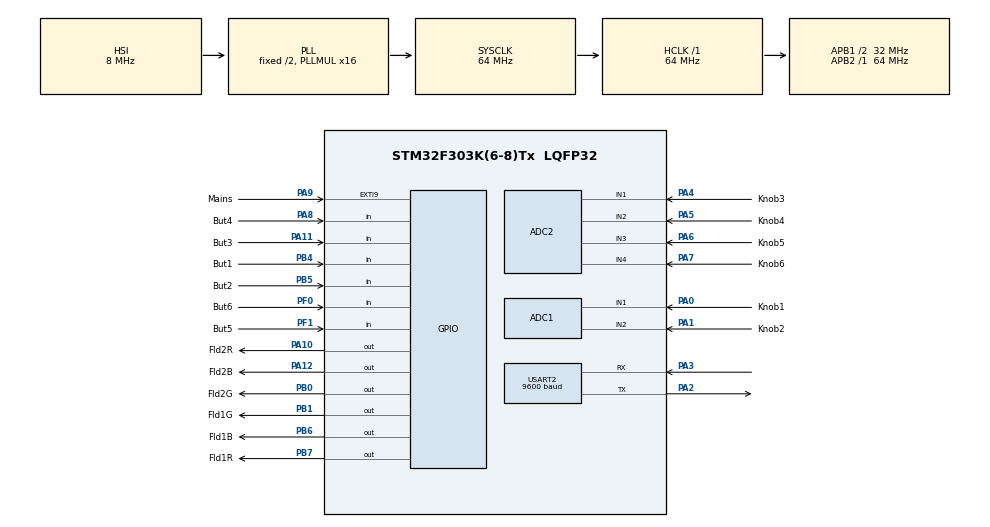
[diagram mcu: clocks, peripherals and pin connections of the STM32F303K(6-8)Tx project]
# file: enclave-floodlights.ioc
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ADC1.Channel-3\#ChannelRegularConversion=ADC_CHANNEL_1
ADC1.NbrOfConversionFlag=1
ADC1.Offset-3\#ChannelRegularConversion=0
ADC1.OffsetNumber-3\#ChannelRegularConversion=ADC_OFFSET_NONE
ADC1.Rank-3\#ChannelRegularConversion=1
ADC1.SamplingTime-3\#ChannelRegularConversion=ADC_SAMPLETIME_1CYCLE_5
ADC1.SubFamily=STM32F303x8
ADC1.master=1
ADC2.Channel-0\#ChannelRegularConversion=ADC_CHANNEL_1
ADC2.NbrOfConversionFlag=1
ADC2.Offset-0\#ChannelRegularConversion=0
ADC2.OffsetNumber-0\#ChannelRegularConversion=ADC_OFFSET_NONE
ADC2.Rank-0\#ChannelRegularConversion=1
ADC2.SamplingTime-0\#ChannelRegularConversion=ADC_SAMPLETIME_1CYCLE_5
ADC2.SubFamily=STM32F303x8
Dma.Request0=USART2_RX
Dma.Request1=USART2_TX
Dma.USART2_RX.0.Direction=DMA_PERIPH_TO_MEMORY
Dma.USART2_RX.0.Instance=DMA1_Channel6
Dma.USART2_RX.0.MemDataAlignment=DMA_MDATAALIGN_BYTE
Dma.USART2_RX.0.MemInc=DMA_MINC_ENABLE
Dma.USART2_RX.0.Mode=DMA_NORMAL
Dma.USART2_RX.0.PeriphDataAlignment=DMA_PDATAALIGN_BYTE
Dma.USART2_RX.0.PeriphInc=DMA_PINC_DISABLE
Dma.USART2_RX.0.Priority=DMA_PRIORITY_LOW
Dma.USART2_TX.1.Direction=DMA_MEMORY_TO_PERIPH
Dma.USART2_TX.1.Instance=DMA1_Channel7
Dma.USART2_TX.1.MemDataAlignment=DMA_MDATAALIGN_BYTE
Dma.USART2_TX.1.MemInc=DMA_MINC_ENABLE
Dma.USART2_TX.1.Mode=DMA_NORMAL
Dma.USART2_TX.1.PeriphDataAlignment=DMA_PDATAALIGN_BYTE
Dma.USART2_TX.1.PeriphInc=DMA_PINC_DISABLE
Dma.USART2_TX.1.Priority=DMA_PRIORITY_LOW
Mcu.Family=STM32F3
Mcu.Name=STM32F303K(6-8)Tx
Mcu.Package=LQFP32
NVIC.DMA1_Channel6_IRQn=true\:0\:0\:false\:false\:true\:false\:true\:true
NVIC.DMA1_Channel7_IRQn=true\:0\:0\:false\:false\:true\:false\:true\:true
NVIC.EXTI9_5_IRQn=true\:0\:0\:false\:false\:true\:true\:true\:true
NVIC.PriorityGroup=NVIC_PRIORITYGROUP_4
NVIC.RCC_IRQn=true\:0\:0\:false\:false\:true\:true\:false\:true
NVIC.TIM2_IRQn=true\:0\:0\:false\:false\:true\:true\:true\:true
NVIC.TIM3_IRQn=true\:0\:0\:false\:false\:true\:true\:true\:true
NVIC.TIM6_DAC1_IRQn=true\:0\:0\:false\:false\:true\:true\:true\:true
NVIC.USART2_IRQn=true\:0\:0\:false\:false\:true\:true\:true\:true
PA0.GPIO_Label=Knob1
PA0.GPIO_Mode=GPIO_MODE_ANALOG
PA0.Mode=IN1-Single-Ended
PA0.Signal=ADC1_IN1
PA1.GPIO_Label=Knob2
PA1.Mode=IN2-Single-Ended
PA1.Signal=ADC1_IN2
PA10.GPIO_Label=Fld2R
PA10.Signal=GPIO_Output
PA11.GPIO_Label=But3
PA11.Signal=GPIO_Input
PA12.GPIO_Label=Fld2B
PA12.Signal=GPIO_Output
PA2.Mode=Asynchronous
PA2.Signal=USART2_TX
PA3.Mode=Asynchronous
PA3.Signal=USART2_RX
PA4.GPIO_Label=Knob3
PA4.Mode=IN1-Single-Ended
PA4.Signal=ADC2_IN1
PA5.GPIO_Label=Knob4
PA5.Mode=IN2-Single-Ended
PA5.Signal=ADC2_IN2
PA6.GPIO_Label=Knob5
PA6.Mode=IN3-Single-Ended
PA6.Signal=ADC2_IN3
PA7.GPIO_Label=Knob6
PA7.Mode=IN4-Single-Ended
PA7.Signal=ADC2_IN4
PA8.GPIO_Label=But4
PA8.Signal=GPIO_Input
PA9.GPIO_Label=Mains
PA9.Signal=GPXTI9
PB0.GPIO_Label=Fld2G
PB0.Signal=GPIO_Output
PB1.GPIO_Label=Fld1G
PB1.GPIO_Speed=GPIO_SPEED_FREQ_HIGH
PB1.Signal=GPIO_Output
PB4.GPIO_Label=But1
PB4.Signal=GPIO_Input
PB5.GPIO_Label=But2
PB5.Signal=GPIO_Input
PB6.GPIO_Label=Fld1B
PB6.GPIO_Speed=GPIO_SPEED_FREQ_HIGH
PB6.Signal=GPIO_Output
PB7.GPIO_Label=Fld1R
PB7.GPIO_Speed=GPIO_SPEED_FREQ_HIGH
PB7.Signal=GPIO_Output
PF0\ /\ OSC_IN.GPIO_Label=But6
PF0\ /\ OSC_IN.Signal=GPIO_Input
PF1\ /\ OSC_OUT.GPIO_Label=But5
PF1\ /\ OSC_OUT.Signal=GPIO_Input
ProjectManager.HeapSize=0x200
ProjectManager.StackSize=0x400
ProjectManager.TargetToolchain=STM32CubeIDE
RCC.AHBFreq_Value=64000000
RCC.APB1CLKDivider=RCC_HCLK_DIV2
RCC.APB1Freq_Value=32000000
RCC.APB1TimFreq_Value=64000000
RCC.APB2Freq_Value=64000000
RCC.APB2TimFreq_Value=64000000
RCC.CortexFreq_Value=64000000
RCC.HCLKFreq_Value=64000000
RCC.HSE_VALUE=8000000
RCC.HSI_VALUE=8000000
RCC.PLLMUL=RCC_PLL_MUL16
RCC.SYSCLKFreq_VALUE=64000000
RCC.SYSCLKSourceVirtual=RCC_SYSCLKSOURCE_PLLCLK
TIM2.AutoReloadPreload=TIM_AUTORELOAD_PRELOAD_ENABLE
TIM2.Period=7
TIM2.Prescaler=253
TIM3.AutoReloadPreload=TIM_AUTORELOAD_PRELOAD_ENABLE
TIM3.Period=9999
TIM3.Prescaler=1599
TIM6.AutoReloadPreload=TIM_AUTORELOAD_PRELOAD_ENABLE
TIM6.Period=99
TIM6.Prescaler=799
USART2.BaudRate=9600
USART2.VirtualMode-Asynchronous=VM_ASYNC
VP_TIM2_VS_ClockSourceINT.Mode=Internal
VP_TIM3_VS_ClockSourceINT.Mode=Internal
VP_TIM6_VS_ClockSourceINT.Mode=Enable_Timer
board=custom

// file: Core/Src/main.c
/* USER CODE BEGIN Header */
/**
 ******************************************************************************
 * @file           : main.c
 * @brief          : Main program body
 ******************************************************************************
 * @attention
 *
 * Copyright (c) 2023 STMicroelectronics.
 * All rights reserved.
 *
 * This software is licensed under terms that can be found in the LICENSE file
 * in the root directory of this software component.
 * If no LICENSE file comes with this software, it is provided AS-IS.
 *
 ******************************************************************************
 */
/* USER CODE END Header */
#include "main.h"

/* USER CODE BEGIN Includes */
#include "math.h"
#include <stdlib.h>
/* USER CODE END Includes */

ADC_HandleTypeDef hadc1;
ADC_HandleTypeDef hadc2;

TIM_HandleTypeDef htim2;
TIM_HandleTypeDef htim3;
TIM_HandleTypeDef htim6;

UART_HandleTypeDef huart2;
DMA_HandleTypeDef hdma_usart2_rx;
DMA_HandleTypeDef hdma_usart2_tx;

/* USER CODE BEGIN PV */
typedef enum {
	//NOTE: repeat since latter half knobs are on adc2
	KNOB1Chn = ADC_CHANNEL_1, KNOB2Chn = ADC_CHANNEL_2, KNOB3Chn = ADC_CHANNEL_17,
	KNOB4Chn = ADC_CHANNEL_13,	KNOB5Chn = ADC_CHANNEL_3, KNOB6Chn = ADC_CHANNEL_4
} KnobChannel;
//test
struct FloodlightLED {
	GPIO_TypeDef * GPIO;
	uint32_t LEDColourChannelPin;
	_Bool pinOn;
	unsigned short dim;
	unsigned short rise1;
	unsigned short fall1;
	unsigned short rise2;
	unsigned short fall2;
};

struct Knob {
	ADC_HandleTypeDef * adc;
	KnobChannel channel;
	uint16_t value;
};

struct Button {
	GPIO_TypeDef * GPIO;
	uint32_t pin;
	GPIO_PinState pinState;
	_Bool buttonState;
	uint8_t debounceCounter;
};

//2^32 - 100000
#define DWT_CYCLE_RESET 4294867296

#define NUMLIGHTS 2
#define COLOURCHANNELSPERLIGHT 3
struct FloodlightLED floodlights[NUMLIGHTS][COLOURCHANNELSPERLIGHT];

#define NUMKNOBS 6
//Div by 5 since 5ms polling
#define DEBOUNCECYCLES 20
struct Knob knobs[NUMKNOBS];

#define NUMBUTTONS 6
struct Button buttons[NUMBUTTONS];

_Bool initialized = 0;

unsigned long width = 0;
unsigned long avgWidth = 0;
_Bool set = 0;
unsigned long start = 0;
unsigned short place = 0;

unsigned short curMains = 0;
uint8_t incrDuty = 0;
int curShift = 0;
uint32_t curStartTilNow = 0;

volatile uint32_t *DWT_CONTROL = (uint32_t*) 0xE0001000;
volatile uint32_t *DWT_CYCCNT = (uint32_t*) 0xE0001004;
volatile uint32_t *DEMCR = (uint32_t*) 0xE000EDFC;
volatile uint32_t *LAR = (uint32_t*) 0xE0001FB0; // <-- added lock access register

const uint32_t startReset = (uint32_t) (pow(2, sizeof(uint32_t) * 8));
const uint32_t startTilNowReset = (uint32_t) (pow(2, sizeof(uint32_t) * 8) / 64);
/* USER CODE END PV */

void SystemClock_Config(void);
static void MX_GPIO_Init(void);
static void MX_DMA_Init(void);
static void MX_TIM2_Init(void);
static void MX_ADC1_Init(void);
static void MX_ADC2_Init(void);
static void MX_TIM3_Init(void);
static void MX_USART2_UART_Init(void);
static void MX_TIM6_Init(void);
/* USER CODE BEGIN PFP */
_Bool initializeFloodlightStructs(void);
_Bool initializeKnobStructs(void);
_Bool initializeButtonStructs(void);
uint16_t readADCChannel(KnobChannel channel, ADC_HandleTypeDef * adc);
void pollKnobs(void);
void debounceButtons(void);
void resetRiseFall(uint8_t floodlightNum, uint8_t LEDNum, _Bool *dimCorrect);
void mainsDetect(void);
void pulseFloodlight(void);
void HAL_GPIO_EXTI_Callback(uint16_t GPIO_Pin);
void HAL_TIM_PeriodElapsedCallback(TIM_HandleTypeDef *htim);
/* USER CODE END PFP */

/* USER CODE BEGIN 0 */
//Set to (253+1)*(7+1) so same rate as timer2
#define timer2cycle() (*DWT_CYCCNT/2032)
#define starttilnow() (timer2cycle() - start)

#define ADC_WIDTH 4092
#define HALF_ADC_WIDTH 2048

#define MAX_LED_DIM 255
#define NUM_LED_LEVELS 256 //255+1

#define LED_ON_STATE(floodlightNum, LEDNum) if(!floodlights[floodlightNum][LEDNum].pinOn) {\
		HAL_GPIO_WritePin(floodlights[floodlightNum][LEDNum].GPIO, \
				floodlights[floodlightNum][LEDNum].LEDColourChannelPin, GPIO_PIN_SET);\
		floodlights[floodlightNum][LEDNum].pinOn = 1;}
#define LED_OFF_STATE(floodlightNum, LEDNum) if(floodlights[floodlightNum][LEDNum].pinOn) {\
		HAL_GPIO_WritePin(floodlights[floodlightNum][LEDNum].GPIO, \
				floodlights[floodlightNum][LEDNum].LEDColourChannelPin, GPIO_PIN_RESET);\
		floodlights[floodlightNum][LEDNum].pinOn = 0;}

_Bool initializeFloodlightStructs() {
	short floodlightNum, LEDNum;
	for (floodlightNum = 0; floodlightNum < NUMLIGHTS;
			floodlightNum++) {
		for (LEDNum = 0; LEDNum < COLOURCHANNELSPERLIGHT; LEDNum++) {
			//NOTE: assuming no more than 10 LED per floodlight
			switch (10*floodlightNum + LEDNum) {
			case 0:
				floodlights[floodlightNum][LEDNum].GPIO = GPIOB;
				floodlights[floodlightNum][LEDNum].LEDColourChannelPin = Fld1R_Pin;
				break;
			case 1:
				floodlights[floodlightNum][LEDNum].GPIO = GPIOB;
				floodlights[floodlightNum][LEDNum].LEDColourChannelPin = Fld1G_Pin;
				break;
			case 2:
				floodlights[floodlightNum][LEDNum].GPIO = GPIOB;
				floodlights[floodlightNum][LEDNum].LEDColourChannelPin = Fld1B_Pin;
				break;
			case 10:
				floodlights[floodlightNum][LEDNum].GPIO = GPIOA;
				floodlights[floodlightNum][LEDNum].LEDColourChannelPin = Fld2R_Pin;
				break;
			case 11:
				floodlights[floodlightNum][LEDNum].GPIO = Fld2G_GPIO_Port;
				floodlights[floodlightNum][LEDNum].LEDColourChannelPin = Fld2G_Pin;
				break;
			case 12:
				floodlights[floodlightNum][LEDNum].GPIO = GPIOA;
				floodlights[floodlightNum][LEDNum].LEDColourChannelPin = Fld2B_Pin;
				break;
			default:
				//Configure shit!
				return 1;
			}
			floodlights[floodlightNum][LEDNum].pinOn = 0;
			floodlights[floodlightNum][LEDNum].dim = 0;
			floodlights[floodlightNum][LEDNum].rise1 = 0;
			floodlights[floodlightNum][LEDNum].fall1 = 0;
			floodlights[floodlightNum][LEDNum].rise2 = 0;
			floodlights[floodlightNum][LEDNum].fall2 = 0;

		}
	}
	return 0;
}

_Bool initializeKnobStructs() {
	uint8_t knob;
	for(knob = 0; knob < NUMKNOBS; knob++) {
		switch(knob) {
		case 0:
			knobs[knob].channel = KNOB1Chn;
			knobs[knob].adc =&hadc1;
			break;
		case 1:
			knobs[knob].channel = KNOB2Chn;
			knobs[knob].adc = &hadc1;
			break;
		case 2:
			knobs[knob].channel = KNOB3Chn;
			knobs[knob].adc = &hadc2;
			break;
		case 3:
			knobs[knob].channel = KNOB4Chn;
			knobs[knob].adc = &hadc2;
			break;
		case 4:
			knobs[knob].channel = KNOB5Chn;
			knobs[knob].adc = &hadc2;
			break;
		case 5:
			knobs[knob].channel = KNOB6Chn;
			knobs[knob].adc = &hadc2;
			break;
		default:
			//Configure shit!
			return 1;
		}

		knobs[knob].value = 0;
	}
	return 0;
}

_Bool initializeButtonStructs() {
	uint8_t button;
	for(button = 0; button < NUMBUTTONS; button++) {
		switch(button) {
		case 0:
			buttons[button].GPIO = GPIOA;
			buttons[button].pin = But1_Pin;
			break;
		case 1:
			buttons[button].GPIO = GPIOA;
			buttons[button].pin = But2_Pin;
			break;
		case 2:
			buttons[button].GPIO = GPIOA;
			buttons[button].pin = But3_Pin;
			break;
		case 3:
			buttons[button].GPIO = GPIOB;
			buttons[button].pin = But4_Pin;
			break;
		case 4:
			buttons[button].GPIO = GPIOB;
			buttons[button].pin = But5_Pin;
			break;
		case 5:
			buttons[button].GPIO = GPIOA;
			buttons[button].pin = But6_Pin;
			break;
		default:
			//Configure shit!
			return 1;
		}

		buttons[button].pinState = GPIO_PIN_RESET;
		buttons[button].buttonState = 0;
		buttons[button].debounceCounter = 0;
	}
	return 0;
}

uint16_t readADCChannel(KnobChannel channel, ADC_HandleTypeDef * adc) {
	ADC_ChannelConfTypeDef sConfig = { 0 };

	/** Configure Regular Channel
	 */
	sConfig.Channel = channel;
	sConfig.Rank = ADC_REGULAR_RANK_1;
	sConfig.SingleDiff = ADC_SINGLE_ENDED;
	sConfig.SamplingTime = ADC_SAMPLETIME_2CYCLES_5;
	sConfig.OffsetNumber = ADC_OFFSET_NONE;
	sConfig.Offset = 0;
	if (HAL_ADC_ConfigChannel(&hadc1, &sConfig) != HAL_OK) {
		Error_Handler();
	}

	HAL_ADC_Start(adc);
	HAL_ADC_PollForConversion(adc, 1);
	return HAL_ADC_GetValue(adc);
}

void pollKnobs() {
	static uint8_t knob;
	for(knob = 0; knob < NUMKNOBS; knob++) {
		//Smooth to filter out noise
		knobs[knob].value = (9*knobs[knob].value +
				readADCChannel(knobs[knob].channel, knobs[knob].adc)) / 10;
	}
}

void debounceButtons() {
	static uint8_t button;
	//TODO: get rid of this
	static int temp = 0;

	for (button = 0; button < NUMBUTTONS; button++) {
		if (HAL_GPIO_ReadPin(buttons[button].GPIO, buttons[button].pin)
				== GPIO_PIN_SET) {
			if (buttons[button].buttonState == 0) {
				buttons[button].debounceCounter++;
				if (buttons[button].debounceCounter >= DEBOUNCECYCLES) {
					//Legit button press!
					temp = 1;
					buttons[button].debounceCounter = 0;
					buttons[button].buttonState = 1;
				}
			}
		} else if (buttons[button].debounceCounter != 0) {
			buttons[button].debounceCounter = 0;
		} else if (buttons[button].buttonState != 0) {
			buttons[button].buttonState = 0;
		}
	}
	if (temp == 1) {
				temp = 0;
	}
}

void resetRiseFall(uint8_t floodlightNum, uint8_t LEDNum, _Bool *dimCorrect) {
	//Divide by 2 since we cycle duty per half-wave, not full wave
		static unsigned short effDuty;
	effDuty = (short) ((((unsigned long) width
			* (unsigned long) floodlights[floodlightNum][LEDNum].dim)) / (2 * NUM_LED_LEVELS));
	//If dim is odd, this granularity will be lost in compression since only 128 pulse width levels available
	//i.e. (512*255)/(2*256) == 255 == (512*254)/(2*256)
	//Circumvent this by offsetting all odd values by 1 on fall to increase pulse width by 1/2 a level
	//NOTE passing in as pointer since resetRiseFall can be triggered asynchronously via seperate interrupts
	*dimCorrect = floodlights[floodlightNum][LEDNum].dim & 1;
	//TODO: calculate & set timer freq so exactly 512*mains freq (change if using ext osc)
	floodlights[floodlightNum][LEDNum].rise1 = ((width / 2) - effDuty) / 2;
	floodlights[floodlightNum][LEDNum].fall1 = floodlights[floodlightNum][LEDNum].rise1 + effDuty + *dimCorrect;
	floodlights[floodlightNum][LEDNum].rise2 = (width / 2) + floodlights[floodlightNum][LEDNum].rise1;
	floodlights[floodlightNum][LEDNum].fall2 = (width / 2) + floodlights[floodlightNum][LEDNum].fall1;
}
void resetAllRiseFall(_Bool *dimCorrect) {
	static short floodlightNum, LEDNum;
		for (floodlightNum = 0; floodlightNum < NUMLIGHTS;
				floodlightNum++) {
			for (LEDNum = 0; LEDNum < COLOURCHANNELSPERLIGHT; LEDNum++) {
				resetRiseFall(floodlightNum, LEDNum, dimCorrect);
			}
		}
}

void mainsDetect() {
	//Why does width occasionally jump to ~20k micros for a bit??  Then returns back to ~61Hz
	//Filtered out by blip discard method.  May be artifact of low frequency operation
	if (set) {
		curStartTilNow = starttilnow();
		//Slowly track to actual width if permanent shift
		avgWidth = ((19 * (unsigned long) width + (curStartTilNow)) / 20);
		//Try to filter out blips, is this an actual frequency shift on mains?
		//If average closer to calculated than historical, this is the new frequency
		//Explicit cast to (long) since stdlib has no overload of abs for unsigned long
      if (width == 0 || abs((unsigned long)((curStartTilNow) - width)) < width/16
       || abs((unsigned long)((curStartTilNow) - avgWidth)) < abs((unsigned long)(width - avgWidth))) {
        width = curStartTilNow;
		//Reset avg
		//avgWidth = width;
		//reset applicable variables
        static _Bool dimCorrect;
		resetAllRiseFall(&dimCorrect);
      }

	} else {
		set = 1;
	}
	if (*DWT_CYCCNT > DWT_CYCLE_RESET)  *DWT_CYCCNT = 0;                  // clear DWT cycle counter
	start = timer2cycle();

	//--------------------------------------------------------------------------------------------------------
	//ONLY FOR TESTING
	static _Bool flip1, flip2;
	static uint16_t reset = 0;
		reset++;
		if (reset >= 1) {
			if (floodlights[0][0].dim > MAX_LED_DIM) floodlights[0][0].dim=0;
			if (floodlights[0][1].dim > MAX_LED_DIM) floodlights[0][1].dim=0;
			if(!flip1) {
			floodlights[0][0].dim = (floodlights[0][0].dim + 1);
			if (floodlights[0][0].dim >= MAX_LED_DIM-1) {
				flip1 = 1;
				floodlights[0][0].dim = MAX_LED_DIM-1;
			}
			} else {
				floodlights[0][0].dim = (floodlights[0][0].dim - 1);
				if (floodlights[0][0].dim <= 0 || floodlights[0][0].dim > MAX_LED_DIM) {
					flip1 = 0;
					floodlights[0][0].dim = 0;
				}
			}
			if(!flip2) {
			floodlights[0][1].dim = (floodlights[0][1].dim - 1);
			if (floodlights[0][1].dim == MAX_LED_DIM-1) flip2 = 1;
			if (floodlights[0][1].dim <= 0 || floodlights[0][1].dim > MAX_LED_DIM ) {
				flip2 = 1;
				floodlights[0][1].dim = 0;
			}
			} else {
				floodlights[0][1].dim = (floodlights[0][1].dim + 1);
				if (floodlights[0][0].dim >= MAX_LED_DIM-1) {
					flip2 = 1;
					floodlights[0][1].dim = MAX_LED_DIM-1;
				}
			}
					floodlights[0][2].dim = abs(floodlights[0][0].dim - floodlights[0][1].dim) % MAX_LED_DIM;
			        static _Bool dimCorrect;
					resetRiseFall(0, 0, &dimCorrect);
					resetRiseFall(0, 1, &dimCorrect);
					resetRiseFall(0, 2, &dimCorrect);
					reset = 0;
					floodlights[1][0].dim = 255 - floodlights[0][0].dim;
					floodlights[1][1].dim = 255 - floodlights[0][1].dim;
					floodlights[1][2].dim = 255 - floodlights[0][2].dim;
		}
		//--------------------------------------------------------------------------------------------------------
}

#pragma GCC push_options
#pragma GCC optimize ("-O3")
void pulseFloodlight() {
	//Triggers every 32 us
	place = starttilnow();
	static short floodlightNum, LEDNum;
	for (floodlightNum = 0; floodlightNum < NUMLIGHTS;
			floodlightNum++) {
		for (LEDNum = 0; LEDNum < COLOURCHANNELSPERLIGHT; LEDNum++) {
			//NOTE: we know as each success LT is evaluated, don't need to re-eval subsequent GTE
			if (place < floodlights[floodlightNum][LEDNum].rise1) {
				LED_OFF_STATE(floodlightNum, LEDNum)
			} else if (place < floodlights[floodlightNum][LEDNum].fall1) {
				LED_ON_STATE(floodlightNum, LEDNum)
			} else if (place < floodlights[floodlightNum][LEDNum].rise2) {
				LED_OFF_STATE(floodlightNum, LEDNum)
			} else if (place < floodlights[floodlightNum][LEDNum].fall2) {
				LED_ON_STATE(floodlightNum, LEDNum)
			} else {
				LED_OFF_STATE(floodlightNum, LEDNum)
			}
		}
	}
}
#pragma GCC pop_options
// EXTI Mains External Interrupt ISR Handler
void HAL_GPIO_EXTI_Callback(uint16_t GPIO_Pin) {
	if(initialized) {
	if (GPIO_Pin == Mains_Pin) {
		mainsDetect();
	}
	}
}
void HAL_TIM_PeriodElapsedCallback(TIM_HandleTypeDef *htim) {
	if(initialized) {
	if (htim->Instance == TIM2) {
		pulseFloodlight();
	}
	else if (htim->Instance == TIM3) {
		//Every 1/4 of a second
		pollKnobs();
	}
	else if (htim->Instance == TIM6) {
		//Every 2ms
		debounceButtons();
	}
	}
}
/* USER CODE END 0 */

int main(void)
{

  /* MCU Configuration--------------------------------------------------------*/

  /* Reset of all peripherals, Initializes the Flash interface and the Systick. */
  HAL_Init();

  /* Configure the system clock */
  SystemClock_Config();

  /* Initialize all configured peripherals */
  MX_GPIO_Init();
  MX_DMA_Init();
  MX_TIM2_Init();
  MX_ADC1_Init();
  MX_ADC2_Init();
  MX_TIM3_Init();
  MX_USART2_UART_Init();
  MX_TIM6_Init();
  /* USER CODE BEGIN 2 */
	//Start interrupts & ADC
	HAL_ADCEx_Calibration_Start(&hadc1, ADC_SINGLE_ENDED);
	HAL_ADCEx_Calibration_Start(&hadc2, ADC_SINGLE_ENDED);
	HAL_TIM_Base_Start_IT(&htim2);
	HAL_TIM_Base_Start_IT(&htim3);
	HAL_TIM_Base_Start_IT(&htim6);

	*DEMCR = *DEMCR | 0x01000000;     // enable trace
	*LAR = 0xC5ACCE55;    // <-- added unlock access to DWT (ITM, etc.)registers
	*DWT_CYCCNT = 0;                  // clear DWT cycle counter
	*DWT_CONTROL = *DWT_CONTROL | 1;  // enable DWT cycle counter

	//If fails config, exit program
	if (initializeFloodlightStructs())
		return 0;

	//If fails config, exit program
	if (initializeKnobStructs())
		return 0;

	//If fails config, exit program
	if (initializeButtonStructs())
		return 0;

	initialized = 1;
  /* USER CODE END 2 */

  /* Infinite loop */
	while (1) {

    /* USER CODE BEGIN 3 */

		//  mainsDetect();
//	  pulseFloodlight();
	}
  /* USER CODE END 3 */
}

void SystemClock_Config(void)
{
  RCC_OscInitTypeDef RCC_OscInitStruct = {0};
  RCC_ClkInitTypeDef RCC_ClkInitStruct = {0};
  RCC_PeriphCLKInitTypeDef PeriphClkInit = {0};

  /** Initializes the RCC Oscillators according to the specified parameters
  * in the RCC_OscInitTypeDef structure.
  */
  RCC_OscInitStruct.OscillatorType = RCC_OSCILLATORTYPE_HSI;
  RCC_OscInitStruct.HSIState = RCC_HSI_ON;
  RCC_OscInitStruct.HSICalibrationValue = RCC_HSICALIBRATION_DEFAULT;
  RCC_OscInitStruct.PLL.PLLState = RCC_PLL_ON;
  RCC_OscInitStruct.PLL.PLLSource = RCC_PLLSOURCE_HSI;
  RCC_OscInitStruct.PLL.PLLMUL = RCC_PLL_MUL16;
  if (HAL_RCC_OscConfig(&RCC_OscInitStruct) != HAL_OK)
  {
    Error_Handler();
  }

  /** Initializes the CPU, AHB and APB buses clocks
  */
  RCC_ClkInitStruct.ClockType = RCC_CLOCKTYPE_HCLK|RCC_CLOCKTYPE_SYSCLK
                              |RCC_CLOCKTYPE_PCLK1|RCC_CLOCKTYPE_PCLK2;
  RCC_ClkInitStruct.SYSCLKSource = RCC_SYSCLKSOURCE_PLLCLK;
  RCC_ClkInitStruct.AHBCLKDivider = RCC_SYSCLK_DIV1;
  RCC_ClkInitStruct.APB1CLKDivider = RCC_HCLK_DIV2;
  RCC_ClkInitStruct.APB2CLKDivider = RCC_HCLK_DIV1;

  if (HAL_RCC_ClockConfig(&RCC_ClkInitStruct, FLASH_LATENCY_2) != HAL_OK)
  {
    Error_Handler();
  }
  PeriphClkInit.PeriphClockSelection = RCC_PERIPHCLK_ADC12;
  PeriphClkInit.Adc12ClockSelection = RCC_ADC12PLLCLK_DIV1;
  if (HAL_RCCEx_PeriphCLKConfig(&PeriphClkInit) != HAL_OK)
  {
    Error_Handler();
  }
}

static void MX_ADC1_Init(void)
{

  ADC_MultiModeTypeDef multimode = {0};
  ADC_ChannelConfTypeDef sConfig = {0};

  /** Common config
  */
  hadc1.Instance = ADC1;
  hadc1.Init.ClockPrescaler = ADC_CLOCK_ASYNC_DIV1;
  hadc1.Init.Resolution = ADC_RESOLUTION_12B;
  hadc1.Init.ScanConvMode = ADC_SCAN_DISABLE;
  hadc1.Init.ContinuousConvMode = DISABLE;
  hadc1.Init.DiscontinuousConvMode = DISABLE;
  hadc1.Init.ExternalTrigConvEdge = ADC_EXTERNALTRIGCONVEDGE_NONE;
  hadc1.Init.ExternalTrigConv = ADC_SOFTWARE_START;
  hadc1.Init.DataAlign = ADC_DATAALIGN_RIGHT;
  hadc1.Init.NbrOfConversion = 1;
  hadc1.Init.DMAContinuousRequests = DISABLE;
  hadc1.Init.EOCSelection = ADC_EOC_SINGLE_CONV;
  hadc1.Init.LowPowerAutoWait = DISABLE;
  hadc1.Init.Overrun = ADC_OVR_DATA_OVERWRITTEN;
  if (HAL_ADC_Init(&hadc1) != HAL_OK)
  {
    Error_Handler();
  }

  /** Configure the ADC multi-mode
  */
  multimode.Mode = ADC_MODE_INDEPENDENT;
  if (HAL_ADCEx_MultiModeConfigChannel(&hadc1, &multimode) != HAL_OK)
  {
    Error_Handler();
  }

  /** Configure Regular Channel
  */
  sConfig.Channel = ADC_CHANNEL_1;
  sConfig.Rank = ADC_REGULAR_RANK_1;
  sConfig.SingleDiff = ADC_SINGLE_ENDED;
  sConfig.SamplingTime = ADC_SAMPLETIME_1CYCLE_5;
  sConfig.OffsetNumber = ADC_OFFSET_NONE;
  sConfig.Offset = 0;
  if (HAL_ADC_ConfigChannel(&hadc1, &sConfig) != HAL_OK)
  {
    Error_Handler();
  }

}

static void MX_ADC2_Init(void)
{

  ADC_ChannelConfTypeDef sConfig = {0};

  /** Common config
  */
  hadc2.Instance = ADC2;
  hadc2.Init.ClockPrescaler = ADC_CLOCK_ASYNC_DIV1;
  hadc2.Init.Resolution = ADC_RESOLUTION_12B;
  hadc2.Init.ScanConvMode = ADC_SCAN_DISABLE;
  hadc2.Init.ContinuousConvMode = DISABLE;
  hadc2.Init.DiscontinuousConvMode = DISABLE;
  hadc2.Init.ExternalTrigConvEdge = ADC_EXTERNALTRIGCONVEDGE_NONE;
  hadc2.Init.ExternalTrigConv = ADC_SOFTWARE_START;
  hadc2.Init.DataAlign = ADC_DATAALIGN_RIGHT;
  hadc2.Init.NbrOfConversion = 1;
  hadc2.Init.DMAContinuousRequests = DISABLE;
  hadc2.Init.EOCSelection = ADC_EOC_SINGLE_CONV;
  hadc2.Init.LowPowerAutoWait = DISABLE;
  hadc2.Init.Overrun = ADC_OVR_DATA_OVERWRITTEN;
  if (HAL_ADC_Init(&hadc2) != HAL_OK)
  {
    Error_Handler();
  }

  /** Configure Regular Channel
  */
  sConfig.Channel = ADC_CHANNEL_1;
  sConfig.Rank = ADC_REGULAR_RANK_1;
  sConfig.SingleDiff = ADC_SINGLE_ENDED;
  sConfig.SamplingTime = ADC_SAMPLETIME_1CYCLE_5;
  sConfig.OffsetNumber = ADC_OFFSET_NONE;
  sConfig.Offset = 0;
  if (HAL_ADC_ConfigChannel(&hadc2, &sConfig) != HAL_OK)
  {
    Error_Handler();
  }

}

static void MX_TIM2_Init(void)
{

  TIM_ClockConfigTypeDef sClockSourceConfig = {0};
  TIM_MasterConfigTypeDef sMasterConfig = {0};

  htim2.Instance = TIM2;
  htim2.Init.Prescaler = 253;
  htim2.Init.CounterMode = TIM_COUNTERMODE_UP;
  htim2.Init.Period = 7;
  htim2.Init.ClockDivision = TIM_CLOCKDIVISION_DIV1;
  htim2.Init.AutoReloadPreload = TIM_AUTORELOAD_PRELOAD_ENABLE;
  if (HAL_TIM_Base_Init(&htim2) != HAL_OK)
  {
    Error_Handler();
  }
  sClockSourceConfig.ClockSource = TIM_CLOCKSOURCE_INTERNAL;
  if (HAL_TIM_ConfigClockSource(&htim2, &sClockSourceConfig) != HAL_OK)
  {
    Error_Handler();
  }
  sMasterConfig.MasterOutputTrigger = TIM_TRGO_RESET;
  sMasterConfig.MasterSlaveMode = TIM_MASTERSLAVEMODE_DISABLE;
  if (HAL_TIMEx_MasterConfigSynchronization(&htim2, &sMasterConfig) != HAL_OK)
  {
    Error_Handler();
  }

}

static void MX_TIM3_Init(void)
{

  TIM_ClockConfigTypeDef sClockSourceConfig = {0};
  TIM_MasterConfigTypeDef sMasterConfig = {0};

  htim3.Instance = TIM3;
  htim3.Init.Prescaler = 1599;
  htim3.Init.CounterMode = TIM_COUNTERMODE_UP;
  htim3.Init.Period = 9999;
  htim3.Init.ClockDivision = TIM_CLOCKDIVISION_DIV1;
  htim3.Init.AutoReloadPreload = TIM_AUTORELOAD_PRELOAD_ENABLE;
  if (HAL_TIM_Base_Init(&htim3) != HAL_OK)
  {
    Error_Handler();
  }
  sClockSourceConfig.ClockSource = TIM_CLOCKSOURCE_INTERNAL;
  if (HAL_TIM_ConfigClockSource(&htim3, &sClockSourceConfig) != HAL_OK)
  {
    Error_Handler();
  }
  sMasterConfig.MasterOutputTrigger = TIM_TRGO_RESET;
  sMasterConfig.MasterSlaveMode = TIM_MASTERSLAVEMODE_DISABLE;
  if (HAL_TIMEx_MasterConfigSynchronization(&htim3, &sMasterConfig) != HAL_OK)
  {
    Error_Handler();
  }

}

static void MX_TIM6_Init(void)
{

  TIM_MasterConfigTypeDef sMasterConfig = {0};

  htim6.Instance = TIM6;
  htim6.Init.Prescaler = 799;
  htim6.Init.CounterMode = TIM_COUNTERMODE_UP;
  htim6.Init.Period = 99;
  htim6.Init.AutoReloadPreload = TIM_AUTORELOAD_PRELOAD_ENABLE;
  if (HAL_TIM_Base_Init(&htim6) != HAL_OK)
  {
    Error_Handler();
  }
  sMasterConfig.MasterOutputTrigger = TIM_TRGO_RESET;
  sMasterConfig.MasterSlaveMode = TIM_MASTERSLAVEMODE_DISABLE;
  if (HAL_TIMEx_MasterConfigSynchronization(&htim6, &sMasterConfig) != HAL_OK)
  {
    Error_Handler();
  }

}

static void MX_USART2_UART_Init(void)
{

  huart2.Instance = USART2;
  huart2.Init.BaudRate = 9600;
  huart2.Init.WordLength = UART_WORDLENGTH_8B;
  huart2.Init.StopBits = UART_STOPBITS_1;
  huart2.Init.Parity = UART_PARITY_NONE;
  huart2.Init.Mode = UART_MODE_TX_RX;
  huart2.Init.HwFlowCtl = UART_HWCONTROL_NONE;
  huart2.Init.OverSampling = UART_OVERSAMPLING_16;
  huart2.Init.OneBitSampling = UART_ONE_BIT_SAMPLE_DISABLE;
  huart2.AdvancedInit.AdvFeatureInit = UART_ADVFEATURE_NO_INIT;
  if (HAL_UART_Init(&huart2) != HAL_OK)
  {
    Error_Handler();
  }

}

static void MX_DMA_Init(void)
{

  /* DMA controller clock enable */
  __HAL_RCC_DMA1_CLK_ENABLE();

  /* DMA interrupt init */
  /* DMA1_Channel6_IRQn interrupt configuration */
  HAL_NVIC_SetPriority(DMA1_Channel6_IRQn, 0, 0);
  HAL_NVIC_EnableIRQ(DMA1_Channel6_IRQn);
  /* DMA1_Channel7_IRQn interrupt configuration */
  HAL_NVIC_SetPriority(DMA1_Channel7_IRQn, 0, 0);
  HAL_NVIC_EnableIRQ(DMA1_Channel7_IRQn);

}

static void MX_GPIO_Init(void)
{
  GPIO_InitTypeDef GPIO_InitStruct = {0};

  /* GPIO Ports Clock Enable */
  __HAL_RCC_GPIOF_CLK_ENABLE();
  __HAL_RCC_GPIOA_CLK_ENABLE();
  __HAL_RCC_GPIOB_CLK_ENABLE();

  /*Configure GPIO pin Output Level */
  HAL_GPIO_WritePin(GPIOB, Fld2G_Pin|Fld1G_Pin|Fld1B_Pin|Fld1R_Pin, GPIO_PIN_RESET);

  /*Configure GPIO pin Output Level */
  HAL_GPIO_WritePin(GPIOA, Fld2R_Pin|Fld2B_Pin, GPIO_PIN_RESET);

  /*Configure GPIO pins : But6_Pin But5_Pin */
  GPIO_InitStruct.Pin = But6_Pin|But5_Pin;
  GPIO_InitStruct.Mode = GPIO_MODE_INPUT;
  GPIO_InitStruct.Pull = GPIO_NOPULL;
  HAL_GPIO_Init(GPIOF, &GPIO_InitStruct);

  /*Configure GPIO pin : Fld2G_Pin */
  GPIO_InitStruct.Pin = Fld2G_Pin;
  GPIO_InitStruct.Mode = GPIO_MODE_OUTPUT_PP;
  GPIO_InitStruct.Pull = GPIO_NOPULL;
  GPIO_InitStruct.Speed = GPIO_SPEED_FREQ_LOW;
  HAL_GPIO_Init(Fld2G_GPIO_Port, &GPIO_InitStruct);

  /*Configure GPIO pins : Fld1G_Pin Fld1B_Pin Fld1R_Pin */
  GPIO_InitStruct.Pin = Fld1G_Pin|Fld1B_Pin|Fld1R_Pin;
  GPIO_InitStruct.Mode = GPIO_MODE_OUTPUT_PP;
  GPIO_InitStruct.Pull = GPIO_NOPULL;
  GPIO_InitStruct.Speed = GPIO_SPEED_FREQ_HIGH;
  HAL_GPIO_Init(GPIOB, &GPIO_InitStruct);

  /*Configure GPIO pins : But4_Pin But3_Pin */
  GPIO_InitStruct.Pin = But4_Pin|But3_Pin;
  GPIO_InitStruct.Mode = GPIO_MODE_INPUT;
  GPIO_InitStruct.Pull = GPIO_NOPULL;
  HAL_GPIO_Init(GPIOA, &GPIO_InitStruct);

  /*Configure GPIO pin : Mains_Pin */
  GPIO_InitStruct.Pin = Mains_Pin;
  GPIO_InitStruct.Mode = GPIO_MODE_IT_RISING;
  GPIO_InitStruct.Pull = GPIO_NOPULL;
  HAL_GPIO_Init(Mains_GPIO_Port, &GPIO_InitStruct);

  /*Configure GPIO pins : Fld2R_Pin Fld2B_Pin */
  GPIO_InitStruct.Pin = Fld2R_Pin|Fld2B_Pin;
  GPIO_InitStruct.Mode = GPIO_MODE_OUTPUT_PP;
  GPIO_InitStruct.Pull = GPIO_NOPULL;
  GPIO_InitStruct.Speed = GPIO_SPEED_FREQ_LOW;
  HAL_GPIO_Init(GPIOA, &GPIO_InitStruct);

  /*Configure GPIO pins : But1_Pin But2_Pin */
  GPIO_InitStruct.Pin = But1_Pin|But2_Pin;
  GPIO_InitStruct.Mode = GPIO_MODE_INPUT;
  GPIO_InitStruct.Pull = GPIO_NOPULL;
  HAL_GPIO_Init(GPIOB, &GPIO_InitStruct);

  /* EXTI interrupt init*/
  HAL_NVIC_SetPriority(EXTI9_5_IRQn, 0, 0);
  HAL_NVIC_EnableIRQ(EXTI9_5_IRQn);

}

void Error_Handler(void)
{
	__disable_irq();
	while (1) {
	}
}
